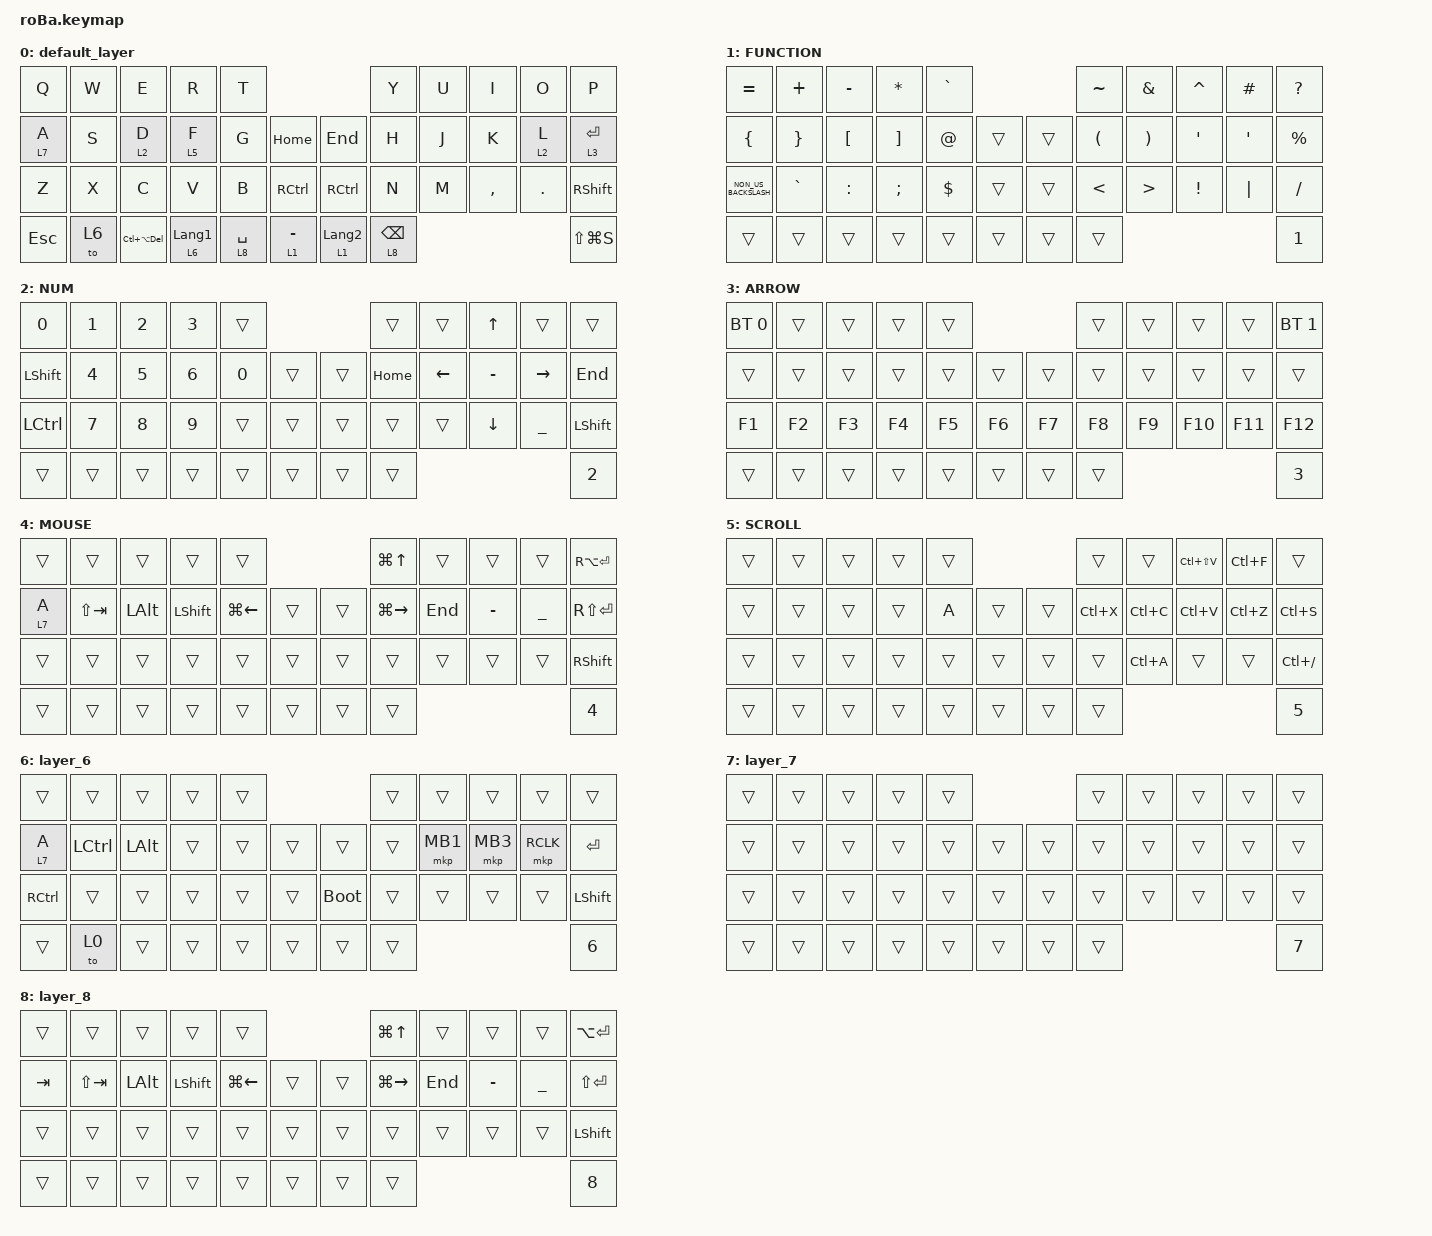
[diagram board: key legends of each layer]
#include <behaviors.dtsi>
#include <dt-bindings/zmk/bt.h>
#include <dt-bindings/zmk/keys.h>
#include <dt-bindings/zmk/pointing.h>

#define MOUSE 4
#define SCROLL 7
#define NUM 6

&mt {
    flavor = "balanced";
    quick-tap-ms = <0>;
};

&trackball {
    scroll-layers = <7>;

    // arrows {
    //     layers = <3>;
    //     bindings =
    //         <&kp RIGHT_ARROW>,
    //         <&kp LEFT_ARROW>,
    //         <&kp UP_ARROW>,
    //         <&kp DOWN_ARROW>;
    //     tick = <10>;
    //     wait-ms = <5>;
    //     tap-ms = <5>;
    // };
};

&lt { quick-tap-ms = <200>; };

/ {
    combos {
        compatible = "zmk,combos";

        tab {
            bindings = <&kp TAB>;
            key-positions = <11 12>;
        };

        shift_tab {
            bindings = <&kp LS(TAB)>;
            key-positions = <12 13>;
        };

        muhennkann {
            bindings = <&to_layer_0 INT_MUHENKAN>;
            key-positions = <11 10>;
        };

        double_quotation {
            bindings = <&kp DOUBLE_QUOTES>;
            key-positions = <20 21>;
        };

        eq {
            bindings = <&kp EQUAL>;
            key-positions = <24 25>;
        };
    };

    macros {
        to_layer_0: to_layer_0 {
            compatible = "zmk,behavior-macro-one-param";
            #binding-cells = <1>;
            bindings = <&to 0 &macro_param_1to1 &kp MACRO_PLACEHOLDER>;
            label = "TO_LAYER_0";
        };
    };

    behaviors {
        lt_to_layer_0: lt_to_layer_0 {
            compatible = "zmk,behavior-hold-tap";
            label = "LAYER_TAP_TO_0";
            bindings = <&mo>, <&to_layer_0>;

            #binding-cells = <2>;
            tapping-term-ms = <200>;
        };
    };

    keymap {
        compatible = "zmk,keymap";

        default_layer {
            bindings = <
&kp Q       &kp W  &kp E               &kp R             &kp T                                           &kp Y            &kp U  &kp I      &kp O    &kp P
&lt 7 A     &kp S  &lt 2 D             &lt 5 F           &kp G        &kp HOME         &kp END           &kp H            &kp J  &kp K      &lt 2 L  &lt 3 ENTER
&kp Z       &kp X  &kp C               &kp V             &kp B        &kp RCTRL        &kp RCTRL         &kp N            &kp M  &kp COMMA  &kp DOT  &kp RIGHT_SHIFT
&kp ESCAPE  &to 6  &kp LC(LA(DELETE))  &lt 6 LANGUAGE_1  &lt 8 SPACE  &lt 1 MINUS      &lt 1 LANGUAGE_2  &lt 8 BACKSPACE                             &kp LS(LG(S))
            >;
        };

        FUNCTION {
            bindings = <
&kp EQUAL             &kp PLUS         &kp MINUS         &kp ASTERISK       &kp GRAVE                        &kp TILDE             &kp AMPERSAND          &kp CARET        &kp HASH  &kp QUESTION
&kp LEFT_BRACE        &kp RIGHT_BRACE  &kp LEFT_BRACKET  &kp RIGHT_BRACKET  &kp AT_SIGN  &trans      &trans  &kp LEFT_PARENTHESIS  &kp RIGHT_PARENTHESIS  &kp SQT          &kp SQT   &kp PERCENT
&kp NON_US_BACKSLASH  &kp GRAVE        &kp COLON         &kp SEMICOLON      &kp DOLLAR   &trans      &trans  &kp LESS_THAN         &kp GREATER_THAN       &kp EXCLAMATION  &kp PIPE  &kp SLASH
&trans                &trans           &trans            &trans             &trans       &trans      &trans  &trans                                                                  &kp NUMBER_1
            >;
        };

        NUM {
            bindings = <
&kp N0          &kp NUMBER_1  &kp NUMBER_2  &kp NUMBER_3  &trans                      &trans    &trans          &kp UP_ARROW  &trans          &trans
&kp LEFT_SHIFT  &kp NUMBER_4  &kp N5        &kp NUMBER_6  &kp N0  &trans      &trans  &kp HOME  &kp LEFT_ARROW  &kp MINUS     &kp RIGHT       &kp END
&kp LCTRL       &kp N7        &kp N8        &kp N9        &trans  &trans      &trans  &trans    &trans          &kp DOWN      &kp UNDERSCORE  &kp LEFT_SHIFT
&trans          &trans        &trans        &trans        &trans  &trans      &trans  &trans                                                  &kp NUMBER_2
            >;
        };

        ARROW {
            bindings = <
&bt BT_SEL 0  &trans  &trans  &trans  &trans                      &trans  &trans  &trans   &trans   &bt BT_SEL 1
&trans        &trans  &trans  &trans  &trans  &trans      &trans  &trans  &trans  &trans   &trans   &trans
&kp F1        &kp F2  &kp F3  &kp F4  &kp F5  &kp F6      &kp F7  &kp F8  &kp F9  &kp F10  &kp F11  &kp F12
&trans        &trans  &trans  &trans  &trans  &trans      &trans  &trans                            &kp NUMBER_3
            >;
        };

        MOUSE {
            bindings = <
&trans   &trans       &trans    &trans          &trans                            &kp LG(UP_ARROW)  &trans   &trans     &trans          &kp RA(ENTER)
&lt 7 A  &kp LS(TAB)  &kp LALT  &kp LEFT_SHIFT  &kp LG(LEFT)  &trans      &trans  &kp LG(RIGHT)     &kp END  &kp MINUS  &kp UNDERSCORE  &kp RS(ENTER)
&trans   &trans       &trans    &trans          &trans        &trans      &trans  &trans            &trans   &trans     &trans          &kp RIGHT_SHIFT
&trans   &trans       &trans    &trans          &trans        &trans      &trans  &trans                                                &kp NUMBER_4
            >;
        };

        SCROLL {
            bindings = <
&trans  &trans  &trans  &trans  &trans                      &trans     &trans     &kp LC(LS(V))  &kp LC(F)  &trans
&trans  &trans  &trans  &trans  &kp A   &trans      &trans  &kp LC(X)  &kp LC(C)  &kp LC(V)      &kp LC(Z)  &kp LC(S)
&trans  &trans  &trans  &trans  &trans  &trans      &trans  &trans     &kp LC(A)  &trans         &trans     &kp LC(SLASH)
&trans  &trans  &trans  &trans  &trans  &trans      &trans  &trans                                          &kp N5
            >;
        };

        layer_6 {
            bindings = <
&trans     &trans     &trans    &trans  &trans                           &trans  &trans    &trans    &trans     &trans
&lt 7 A    &kp LCTRL  &kp LALT  &trans  &trans  &trans      &trans       &trans  &mkp MB1  &mkp MB3  &mkp RCLK  &kp ENTER
&kp RCTRL  &trans     &trans    &trans  &trans  &trans      &bootloader  &trans  &trans    &trans    &trans     &kp LEFT_SHIFT
&trans     &to 0      &trans    &trans  &trans  &trans      &trans       &trans                                 &kp NUMBER_6
            >;
        };

        layer_7 {
            bindings = <
&trans  &trans  &trans  &trans  &trans                      &trans  &trans  &trans  &trans  &trans
&trans  &trans  &trans  &trans  &trans  &trans      &trans  &trans  &trans  &trans  &trans  &trans
&trans  &trans  &trans  &trans  &trans  &trans      &trans  &trans  &trans  &trans  &trans  &trans
&trans  &trans  &trans  &trans  &trans  &trans      &trans  &trans                          &kp N7
            >;
        };

        layer_8 {
            bindings = <
&trans   &trans       &trans        &trans          &trans                            &kp LG(UP)     &trans   &trans     &trans          &kp LA(ENTER)
&kp TAB  &kp LS(TAB)  &kp LEFT_ALT  &kp LEFT_SHIFT  &kp LG(LEFT)  &trans      &trans  &kp LG(RIGHT)  &kp END  &kp MINUS  &kp UNDERSCORE  &kp LS(ENTER)
&trans   &trans       &trans        &trans          &trans        &trans      &trans  &trans         &trans   &trans     &trans          &kp LEFT_SHIFT
&trans   &trans       &trans        &trans          &trans        &trans      &trans  &trans                                             &kp N8
            >;
        };
    };
};
